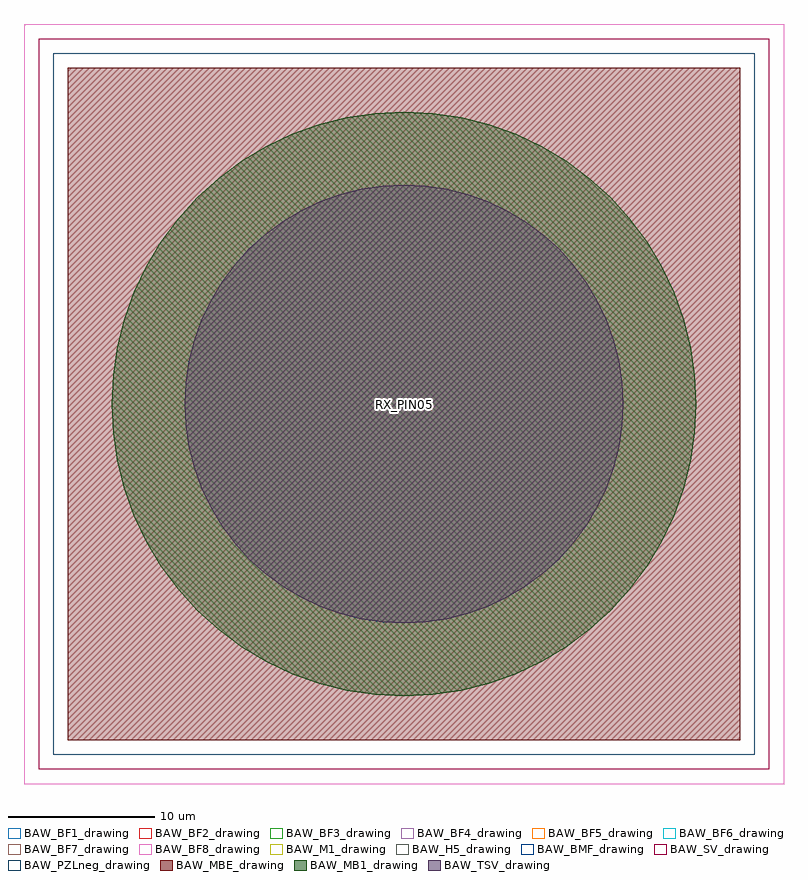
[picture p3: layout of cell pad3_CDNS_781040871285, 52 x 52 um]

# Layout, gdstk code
import gdstk
lib = gdstk.Library(unit=1e-6, precision=1e-09)
def R(c, l, rs):  # rectangles x0, y0, x1, y1
    for r in rs: c.add(gdstk.rectangle(r[:2], r[2:], *l))
def P(c, l, *ps):  # polygons
    for p in ps: c.add(gdstk.Polygon(p, *l))
BAW_MBE_drawing = (2, 0)
BAW_SV_drawing = (7, 0)
BAW_M1_drawing = (8, 0)
BAW_MB1_drawing = (10, 0)
BAW_TSV_drawing = (11, 0)
EM_VPT_drawing = (35, 0)
BAW_BMF_drawing = (55, 0)
BAW_BF1_drawing = (140, 0)
BAW_BF2_drawing = (141, 0)
BAW_BF3_drawing = (142, 0)
BAW_BF4_drawing = (143, 0)
BAW_BF5_drawing = (144, 0)
BAW_BF6_drawing = (145, 0)
BAW_BF7_drawing = (146, 0)
BAW_BF8_drawing = (147, 0)
BAW_H5_drawing = (202, 0)
BAW_PZLneg_drawing = (264, 0)

pad3_cdns_781040871285 = lib.new_cell('pad3_CDNS_781040871285')
R(pad3_cdns_781040871285, BAW_MBE_drawing, [(-23,-23,23,23)])
R(pad3_cdns_781040871285, BAW_SV_drawing, [(-25,-25,25,25)])
R(pad3_cdns_781040871285, BAW_M1_drawing, [(-25,-25,25,25)])
P(pad3_cdns_781040871285, BAW_MB1_drawing, [(20,0),(19.904,1.96),(19.616,3.902),(19.139,5.806),(18.478,7.654),(17.638,9.428),(16.629,11.111),(15.46,12.688),(14.142,14.142),(12.688,15.46),(11.111,16.629),(9.428,17.638),(7.654,18.478),(5.806,19.139),(3.902,19.616),(1.96,19.904),(0,20),(-1.96,19.904),(-3.902,19.616),(-5.806,19.139),(-7.654,18.478),(-9.428,17.638),(-11.111,16.629),(-12.688,15.46),(-14.142,14.142),(-15.46,12.688),(-16.629,11.111),(-17.638,9.428),(-18.478,7.654),(-19.139,5.806),(-19.616,3.902),(-19.904,1.96),(-20,0),(-19.904,-1.96),(-19.616,-3.902),(-19.139,-5.806),(-18.478,-7.654),(-17.638,-9.428),(-16.629,-11.111),(-15.46,-12.688),(-14.142,-14.142),(-12.688,-15.46),(-11.111,-16.629),(-9.428,-17.638),(-7.654,-18.478),(-5.806,-19.139),(-3.902,-19.616),(-1.96,-19.904),(0,-20),(1.96,-19.904),(3.902,-19.616),(5.806,-19.139),(7.654,-18.478),(9.428,-17.638),(11.111,-16.629),(12.688,-15.46),(14.142,-14.142),(15.46,-12.688),(16.629,-11.111),(17.638,-9.428),(18.478,-7.654),(19.139,-5.806),(19.616,-3.902),(19.904,-1.96)])
P(pad3_cdns_781040871285, BAW_TSV_drawing, [(15,0),(14.928,1.47),(14.712,2.926),(14.354,4.354),(13.858,5.74),(13.229,7.071),(12.472,8.334),(11.595,9.516),(10.607,10.607),(9.516,11.595),(8.334,12.472),(7.071,13.229),(5.74,13.858),(4.354,14.354),(2.926,14.712),(1.47,14.928),(0,15),(-1.47,14.928),(-2.926,14.712),(-4.354,14.354),(-5.74,13.858),(-7.071,13.229),(-8.334,12.472),(-9.516,11.595),(-10.607,10.607),(-11.595,9.516),(-12.472,8.334),(-13.229,7.071),(-13.858,5.74),(-14.354,4.354),(-14.712,2.926),(-14.928,1.47),(-15,0),(-14.928,-1.47),(-14.712,-2.926),(-14.354,-4.354),(-13.858,-5.74),(-13.229,-7.071),(-12.472,-8.334),(-11.595,-9.516),(-10.607,-10.607),(-9.516,-11.595),(-8.334,-12.472),(-7.071,-13.229),(-5.74,-13.858),(-4.354,-14.354),(-2.926,-14.712),(-1.47,-14.928),(0,-15),(1.47,-14.928),(2.926,-14.712),(4.354,-14.354),(5.74,-13.858),(7.071,-13.229),(8.334,-12.472),(9.516,-11.595),(10.607,-10.607),(11.595,-9.516),(12.472,-8.334),(13.229,-7.071),(13.858,-5.74),(14.354,-4.354),(14.712,-2.926),(14.928,-1.47)])
R(pad3_cdns_781040871285, BAW_BMF_drawing, [(-25,-25,25,25)])
R(pad3_cdns_781040871285, BAW_BF1_drawing, [(-26,-26,26,26)])
R(pad3_cdns_781040871285, BAW_BF2_drawing, [(-26,-26,26,26)])
R(pad3_cdns_781040871285, BAW_BF3_drawing, [(-26,-26,26,26)])
R(pad3_cdns_781040871285, BAW_BF4_drawing, [(-26,-26,26,26)])
R(pad3_cdns_781040871285, BAW_BF5_drawing, [(-26,-26,26,26)])
R(pad3_cdns_781040871285, BAW_BF6_drawing, [(-26,-26,26,26)])
R(pad3_cdns_781040871285, BAW_BF7_drawing, [(-26,-26,26,26)])
R(pad3_cdns_781040871285, BAW_BF8_drawing, [(-26,-26,26,26)])
R(pad3_cdns_781040871285, BAW_H5_drawing, [(-25,-25,25,25)])
R(pad3_cdns_781040871285, BAW_PZLneg_drawing, [(-24,-24,24,24)])
pad3_cdns_781040871285.add(gdstk.FlexPath([(-30,0),(30,0)], 0, ends="flush", simple_path=True, layer=35, datatype=0))  # EM_VPT_drawing
pad3_cdns_781040871285.add(gdstk.Label('RX_PIN05', (0,0), layer=71, texttype=0))

lib.write_gds('pad3_CDNS_781040871285.gds')
